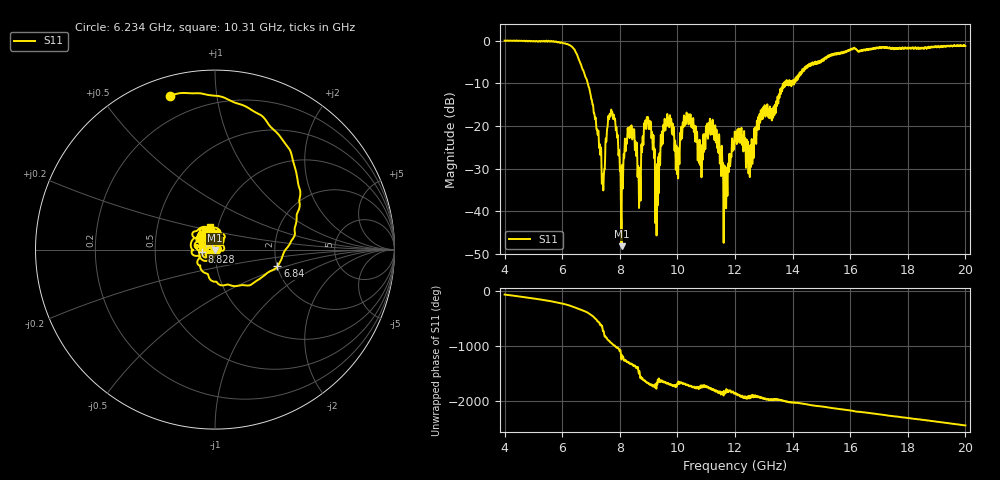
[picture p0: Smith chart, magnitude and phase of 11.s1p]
[Version] 2.0
! Rohde & Schwarz Vector Network Analyzer
! Rohde-Schwarz,ZNL20-2Port,1323001220200009,1.71.1.10-23.02.1.238
! Port Assignments:
! Nominal Port -> Actual Test Port
!  1 -> 1
! Created: GMT+2 2025-01-17 12:47:26
# Hz S RI R 50
[Number of Ports] 1
! freq[Hz]  S11[Re]  S11[Im]
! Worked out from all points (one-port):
!   16001 points, 4 GHz to 20 GHz, reference 50 ohm
!   lowest |S11| = -48.2 dB at 8.059 GHz (marker M1), VSWR 1.01, Z = 49.9 - j0.362 ohm
!   |S11| at or under -10 dB: 6.882 GHz to 13.7 GHz (6.816 GHz wide, 66.2 % of centre); 13.71189 GHz to 13.73978 GHz (27.89 MHz wide, 0.203 % of centre); 13.94131 GHz to 13.96404 GHz (22.73 MHz wide, 0.163 % of centre)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
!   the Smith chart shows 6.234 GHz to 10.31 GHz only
!   S11 on the Smith chart (normalised r, x): 6.234 GHz: 0.09, +0.74; 6.84 GHz: 2.01, -0.43; 8.828 GHz: 0.86, -0.02; 10.31 GHz: 0.91, +0.24
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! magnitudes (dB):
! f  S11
! 4 GHz  0.0
! 6 GHz  -0.5
! 6.234 GHz  -1.0
! 6.84 GHz  -8.9
! 7.403 GHz  -31.3
! 7.719 GHz  -16.7
! 7.864 GHz  -20.9
! 8 GHz  -29.8
! 8.059 GHz  -48.2
! 8.335 GHz  -22.6
! 8.523 GHz  -25.6
! 8.674 GHz  -36.7
! 8.828 GHz  -22.5
! 9.048 GHz  -20.5
! 9.293 GHz  -29.0
! 9.623 GHz  -20.0
! 10 GHz  -25.5
! 10.31 GHz  -17.6
! 10.78 GHz  -23.6
! 11.24 GHz  -22.0
! 11.67 GHz  -29.6
! 12 GHz  -21.7
! 12.54 GHz  -24.4
! 12.96 GHz  -18.3
! 14 GHz  -10.2
! 16 GHz  -2.0
! 18 GHz  -1.6
! 20 GHz  -1.2
